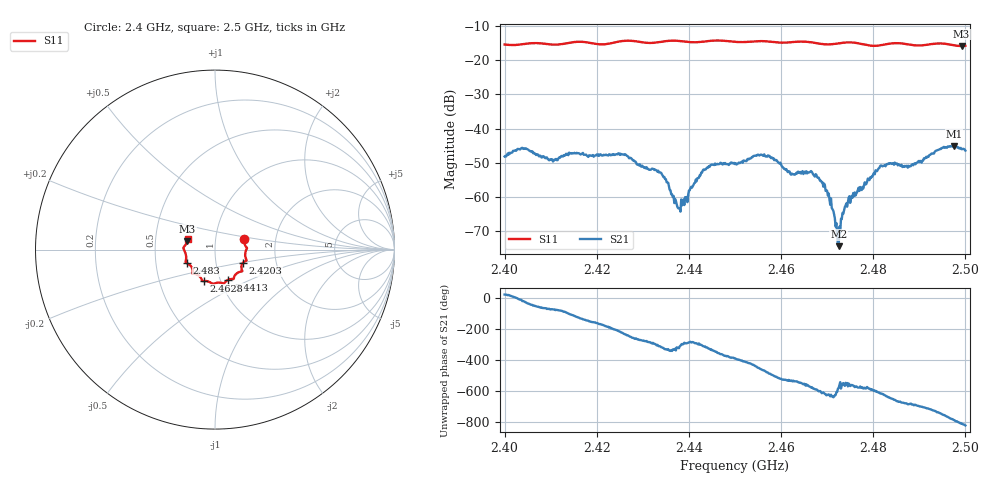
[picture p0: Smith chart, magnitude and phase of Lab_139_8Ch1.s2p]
# Hz S RI R 50
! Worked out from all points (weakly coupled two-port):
!   601 points, 2.4 GHz to 2.5 GHz, reference 50 ohm
!   highest |S21| = -45.08 dB at 2.4975 GHz (marker M1); lowest = -74.5 dB at 2.4725 GHz (marker M2)
!   lowest |S11| = -15.8 dB at 2.4992 GHz (marker M3), VSWR 1.39, Z = 36.4 + j3.53 ohm
!   |S11| at or under -10 dB: start of sweep to end of sweep
!   S12 and S22 are empty: the file has one direction only
!   S11 on the Smith chart (normalised r, x): 2.4 GHz: 1.37, +0.16; 2.4203 GHz: 1.35, -0.21; 2.4413 GHz: 1.09, -0.38; 2.4628 GHz: 0.83, -0.30; 2.483 GHz: 0.72, -0.11; 2.5 GHz: 0.73, +0.09
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2.4e9  0.1604 0.0571  0.00364 0.0014  0 0  0 0
2.404167e9  0.1722 0.017  0.00465 -0.00193  0 0  0 0
2.416667e9  0.1761 -0.0614  -0.00299 -0.00304  0 0  0 0
2.420333e9  0.1553 -0.0739  -0.00408 -0.000936  0 0  0 0
2.426e9  0.1516 -0.1191  -0.0024 0.00333  0 0  0 0
2.433333e9  0.108 -0.1485  0.00152 0.00187  0 0  0 0
2.437667e9  0.101 -0.1641  0.000548 0.000403  0 0  0 0
2.441333e9  0.0744 -0.168  0.000639 0.00148  0 0  0 0
2.444833e9  0.0529 -0.1859  0.00262 0.00137  0 0  0 0
2.45e9  0.0293 -0.1838  0.00259 -0.00155  0 0  0 0
2.456e9  -0.0121 -0.1905  -0.00114 -0.00387  0 0  0 0
2.462833e9  -0.063 -0.1748  -0.00214 -4.26e-05  0 0  0 0
2.466667e9  -0.0742 -0.1676  -0.00187 0.00139  0 0  0 0
2.469833e9  -0.0911 -0.1448  -1.13e-05 0.00125  0 0  0 0
2.4725e9  -0.1149 -0.1347  -0.000139 0.000128  0 0  0 0
2.474333e9  -0.124 -0.1341  -0.000707 0.000124  0 0  0 0
2.483e9  -0.1547 -0.0766  0.000365 0.003  0 0  0 0
2.483333e9  -0.1569 -0.0758  0.000583 0.00303  0 0  0 0
2.487833e9  -0.161 -0.0543  0.00229 0.00156  0 0  0 0
2.4975e9  -0.1637 0.0278  0.00197 -0.00522  0 0  0 0
2.499167e9  -0.1548 0.0472  -0.000303 -0.00498  0 0  0 0
2.5e9  -0.1525 0.0584  -0.00116 -0.00461  0 0  0 0
